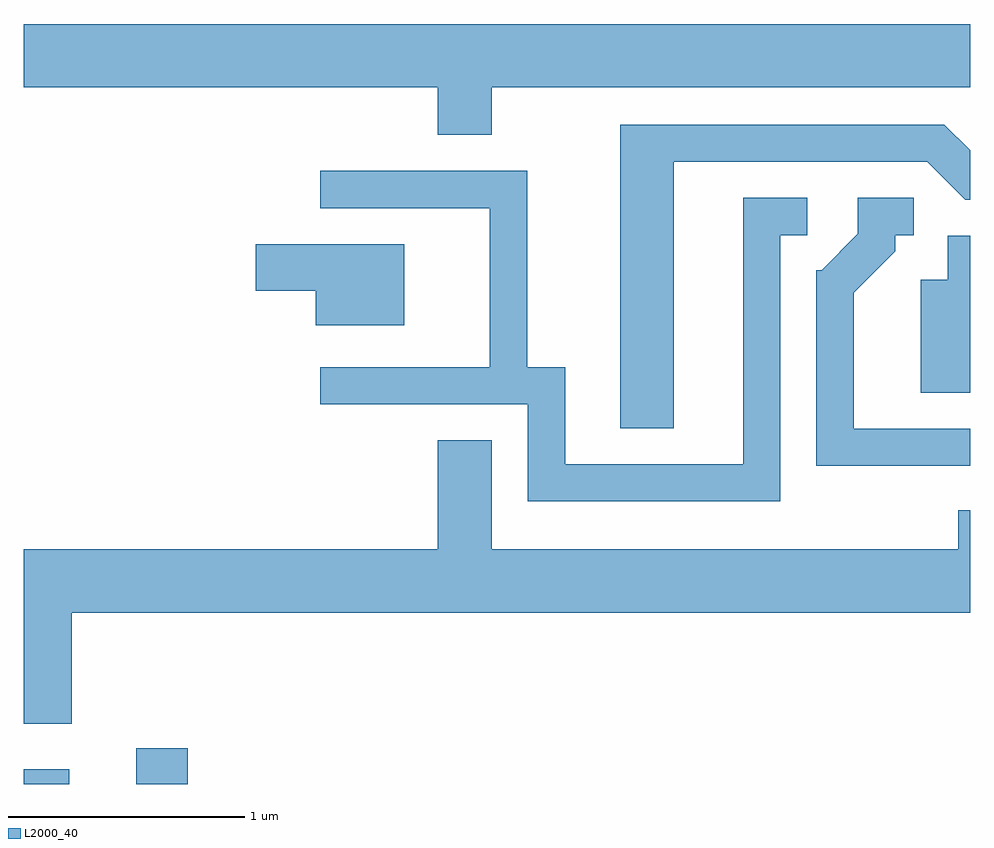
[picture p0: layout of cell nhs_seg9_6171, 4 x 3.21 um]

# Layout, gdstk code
import gdstk
lib = gdstk.Library(unit=1e-6, precision=1e-09)
def R(c, l, rs):  # rectangles x0, y0, x1, y1
    for r in rs: c.add(gdstk.rectangle(r[:2], r[2:], *l))
def P(c, l, *ps):  # polygons
    for p in ps: c.add(gdstk.Polygon(p, *l))
L2000_40 = (2000, 40)

nhs_seg9_6171 = lib.new_cell('nhs_seg9_6171')
R(nhs_seg9_6171, L2000_40, [(367.611,1984.432,367.804,1984.494), (368.086,1984.432,368.304,1984.584)])
P(nhs_seg9_6171, L2000_40, [(369.589,1987.376),(371.611,1987.376),(371.611,1987.644),(367.611,1987.644),(367.611,1987.376),(369.361,1987.376),(369.361,1987.176),(369.589,1987.176)],
  [(370.359,1987.061),(371.429,1987.061),(371.589,1986.901),(371.611,1986.901),(371.611,1987.11),(371.502,1987.219),(370.131,1987.219),(370.131,1985.936),(370.359,1985.936)],
  [(370.809,1986.751),(370.923,1986.751),(370.923,1986.909),(370.651,1986.909),(370.651,1985.784),(369.899,1985.784),(369.899,1986.194),(369.739,1986.194),(369.739,1987.024),(368.863,1987.024),(368.863,1986.866),(369.581,1986.866),(369.581,1986.194),(368.863,1986.194),(368.863,1986.036),(369.741,1986.036),(369.741,1985.626),(370.809,1985.626)],
  [(371.611,1985.934),(371.119,1985.934),(371.119,1986.509),(371.294,1986.684),(371.294,1986.751),(371.373,1986.751),(371.373,1986.909),(371.136,1986.909),(371.136,1986.757),(370.984,1986.604),(370.961,1986.604),(370.961,1985.776),(371.611,1985.776)],
  [(371.611,1986.749),(371.516,1986.749),(371.516,1986.564),(371.401,1986.564),(371.401,1986.086),(371.611,1986.086)],
  [(369.219,1986.714),(368.591,1986.714),(368.591,1986.516),(368.846,1986.516),(368.846,1986.371),(369.219,1986.371)],
  [(367.814,1985.156),(371.611,1985.156),(371.611,1985.589),(371.561,1985.589),(371.561,1985.424),(369.589,1985.424),(369.589,1985.884),(369.361,1985.884),(369.361,1985.424),(367.611,1985.424),(367.611,1984.686),(367.814,1984.686)])

lib.write_gds('nhs_seg9_6171.gds')
